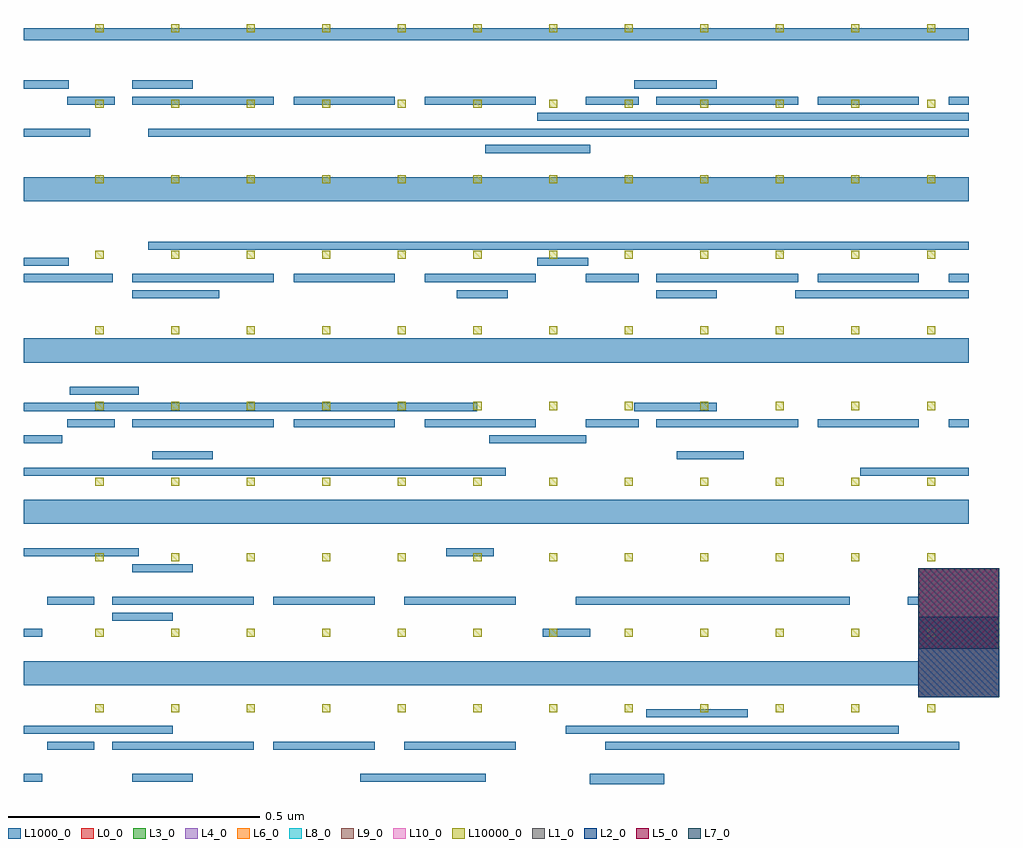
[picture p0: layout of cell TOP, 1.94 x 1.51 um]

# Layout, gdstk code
import gdstk
lib = gdstk.Library(unit=1e-6, precision=1e-09)
def R(c, l, rs):  # rectangles x0, y0, x1, y1
    for r in rs: c.add(gdstk.rectangle(r[:2], r[2:], *l))
def A(c, l, x, y, w, h, nx, ny, dx, dy):  # array of equal rectangles
    R(c, l, [(x+i*dx, y+j*dy, x+i*dx+w, y+j*dy+h) for i in range(nx) for j in range(ny)])
L0_0 = (0, 0)
L1_0 = (1, 0)
L2_0 = (2, 0)
L3_0 = (3, 0)
L4_0 = (4, 0)
L5_0 = (5, 0)
L6_0 = (6, 0)
L7_0 = (7, 0)
L8_0 = (8, 0)
L9_0 = (9, 0)
L10_0 = (10, 0)
L1000_0 = (1000, 0)
L10000_0 = (10000, 0)

top = lib.new_cell('TOP')
R(top, L0_0, [(0.837,-0.582,0.997,-0.422), (0.837,-0.486,0.997,-0.326)])
R(top, L1_0, [(0.837,-0.582,0.997,-0.422)])
R(top, L2_0, [(0.837,-0.582,0.997,-0.422)])
R(top, L3_0, [(0.837,-0.582,0.997,-0.422), (0.837,-0.486,0.997,-0.326)])
R(top, L4_0, [(0.837,-0.582,0.997,-0.422), (0.837,-0.486,0.997,-0.326)])
R(top, L5_0, [(0.837,-0.486,0.997,-0.326)])
R(top, L6_0, [(0.837,-0.582,0.997,-0.422), (0.837,-0.486,0.997,-0.326)])
R(top, L7_0, [(0.837,-0.486,0.997,-0.326)])
R(top, L8_0, [(0.837,-0.582,0.997,-0.422), (0.837,-0.486,0.997,-0.326)])
R(top, L9_0, [(0.837,-0.582,0.997,-0.422), (0.837,-0.486,0.997,-0.326)])
R(top, L10_0, [(0.837,-0.582,0.997,-0.422), (0.837,-0.486,0.997,-0.326)])
A(top, L1000_0, -0.938, -0.558, 1.875, 0.048, 1, 4, 0, 0.32)
R(top, L1000_0, [(0.185,-0.754,0.333,-0.734), (-0.938,-0.75,-0.902,-0.734), (-0.723,-0.75,-0.603,-0.734), (-0.271,-0.75,-0.022,-0.734), (-0.892,-0.686,-0.798,-0.67), (-0.763,-0.686,-0.482,-0.67), (-0.443,-0.686,-0.242,-0.67), (-0.183,-0.686,0.038,-0.67), (0.216,-0.686,0.918,-0.67), (-0.938,-0.654,-0.643,-0.638), (0.137,-0.654,0.798,-0.638), (0.297,-0.622,0.498,-0.606), (0.897,-0.494,0.937,-0.414), (-0.938,-0.462,-0.902,-0.446), (0.092,-0.462,0.186,-0.446), (-0.763,-0.43,-0.643,-0.414), (-0.892,-0.398,-0.798,-0.382), (-0.763,-0.398,-0.482,-0.382), (-0.443,-0.398,-0.242,-0.382), (-0.183,-0.398,0.038,-0.382), (0.157,-0.398,0.701,-0.382), (0.816,-0.398,0.937,-0.382), (-0.723,-0.334,-0.603,-0.318), (-0.938,-0.302,-0.71,-0.286), (-0.1,-0.302,-0.006,-0.286), (-0.938,-0.142,0.018,-0.126), (0.721,-0.142,0.937,-0.126), (-0.683,-0.11,-0.563,-0.094), (0.357,-0.11,0.49,-0.094), (-0.938,-0.078,-0.862,-0.062), (-0.015,-0.078,0.178,-0.062), (-0.852,-0.046,-0.758,-0.03), (-0.723,-0.046,-0.442,-0.03), (-0.403,-0.046,-0.202,-0.03), (-0.143,-0.046,0.078,-0.03), (0.177,-0.046,0.282,-0.03), (0.317,-0.046,0.598,-0.03), (0.637,-0.046,0.838,-0.03), (0.897,-0.046,0.937,-0.03), (-0.938,-0.014,-0.038,0.002), (0.273,-0.014,0.437,0.002), (-0.847,0.018,-0.71,0.034), (-0.723,0.21,-0.55,0.226), (-0.079,0.21,0.022,0.226), (0.317,0.21,0.437,0.226), (0.593,0.21,0.937,0.226), (-0.938,0.242,-0.762,0.258), (-0.723,0.242,-0.442,0.258), (-0.403,0.242,-0.202,0.258), (-0.143,0.242,0.078,0.258), (0.177,0.242,0.282,0.258), (0.317,0.242,0.598,0.258), (0.637,0.242,0.838,0.258), (0.897,0.242,0.937,0.258), (-0.938,0.274,-0.849,0.29), (0.081,0.274,0.182,0.29), (-0.691,0.306,0.937,0.322), (-0.023,0.498,0.186,0.514), (-0.938,0.53,-0.806,0.546), (-0.691,0.53,0.937,0.546), (0.081,0.562,0.937,0.578), (-0.852,0.594,-0.758,0.61), (-0.723,0.594,-0.442,0.61), (-0.403,0.594,-0.202,0.61), (-0.143,0.594,0.078,0.61), (0.177,0.594,0.282,0.61), (0.317,0.594,0.598,0.61), (0.637,0.594,0.838,0.61), (0.897,0.594,0.937,0.61), (-0.938,0.626,-0.849,0.642), (-0.723,0.626,-0.603,0.642), (0.273,0.626,0.437,0.642), (-0.938,0.722,0.937,0.746)])
A(top, L10000_0, -0.796, -0.612, 0.016, 0.016, 12, 10, 0.15, 0.15)

lib.write_gds('TOP.gds')
